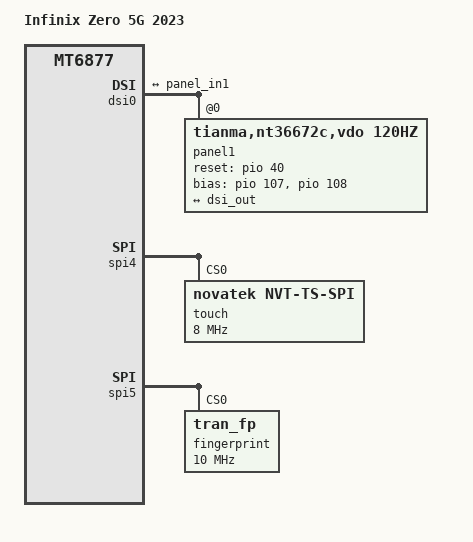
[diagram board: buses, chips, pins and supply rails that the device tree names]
// SPDX-License-Identifier: GPL-2.0
/*
 * Copyright (C) 2021-2023 MediaTek Inc.
 * Copyright (C) 2024-2026 The LineageOS Project
 * Device tree overlay / board DTS for Infinix Zero 5G 2023 (X6815C)
 */

#include "mt6877.dts"

/ {
	model = "Infinix Zero 5G 2023";
	compatible = "infinix,X6815C", "mediatek,MT6877";
};

&dsi0 {
	status = "okay";
	#address-cells = <1>;
	#size-cells = <0>;

	panel1@0 {
		compatible = "tianma,nt36672c,vdo,120hz";
		reg = <0>;
		reset-gpios = <&pio 40 0>;
		bias-gpios = <&pio 107 0>, <&pio 108 0>;
		pinctrl-names = "default";
		status = "okay";

		port {
			panel_in1: endpoint {
				remote-endpoint = <&dsi_out>;
			};
		};
	};

	ports {
		port {
			dsi_out: endpoint {
				remote-endpoint = <&panel_in1>;
			};
		};
	};
};

&spi4 {
	status = "okay";
	#address-cells = <1>;
	#size-cells = <0>;

	touch@0 {
		compatible = "novatek,NVT-ts-spi";
		reg = <0>;
		spi-max-frequency = <8000000>;
		status = "okay";
	};
};

&spi5 {
	status = "okay";
	#address-cells = <1>;
	#size-cells = <0>;

	fingerprint@0 {
		compatible = "tran_fp";
		reg = <0>;
		spi-max-frequency = <10000000>;
		status = "okay";
	};
};
